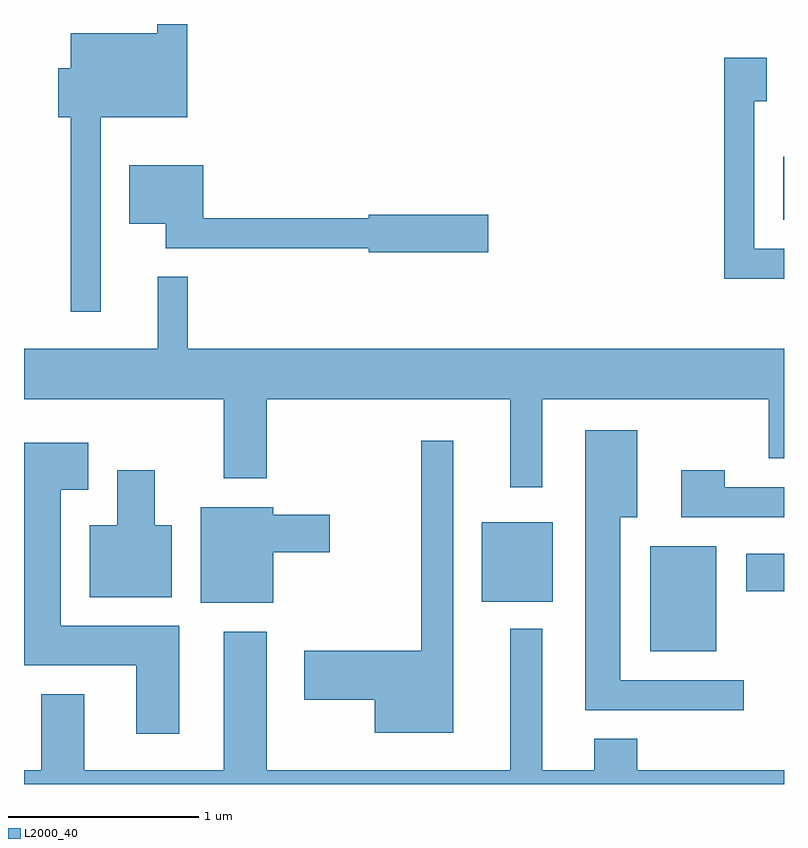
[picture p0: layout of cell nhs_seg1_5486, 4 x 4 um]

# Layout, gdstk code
import gdstk
lib = gdstk.Library(unit=1e-6, precision=1e-09)
def R(c, l, rs):  # rectangles x0, y0, x1, y1
    for r in rs: c.add(gdstk.rectangle(r[:2], r[2:], *l))
def P(c, l, *ps):  # polygons
    for p in ps: c.add(gdstk.Polygon(p, *l))
L2000_40 = (2000, 40)

nhs_seg1_5486 = lib.new_cell('nhs_seg1_5486')
R(nhs_seg1_5486, L2000_40, [(352.906,960.411,353.254,960.964), (352.021,960.671,352.394,961.089), (353.411,960.726,353.611,960.924), (353.606,962.681,353.611,963.014)])
P(nhs_seg1_5486, L2000_40, [(350.014,963.221),(350.469,963.221),(350.469,963.712),(350.311,963.712),(350.311,963.664),(349.856,963.664),(349.856,963.479),(349.791,963.479),(349.791,963.221),(349.856,963.221),(349.856,962.198),(350.014,962.198)],
  [(353.611,962.529),(353.454,962.529),(353.454,963.306),(353.519,963.306),(353.519,963.534),(353.296,963.534),(353.296,962.371),(353.611,962.371)],
  [(352.054,962.709),(351.426,962.709),(351.426,962.689),(350.554,962.689),(350.554,962.969),(350.166,962.969),(350.166,962.661),(350.356,962.661),(350.356,962.531),(351.426,962.531),(351.426,962.511),(352.054,962.511)],
  [(352.339,961.736),(353.531,961.736),(353.531,961.426),(353.611,961.426),(353.611,962.004),(350.474,962.004),(350.474,962.383),(350.316,962.383),(350.316,962.004),(349.611,962.004),(349.611,961.736),(350.661,961.736),(350.661,961.321),(350.889,961.321),(350.889,961.736),(352.171,961.736),(352.171,961.273),(352.339,961.273)],
  [(353.398,960.259),(352.749,960.259),(352.749,961.116),(352.839,961.116),(352.839,961.574),(352.566,961.574),(352.566,960.101),(353.398,960.101)],
  [(351.869,961.518),(351.701,961.518),(351.701,960.414),(351.086,960.414),(351.086,960.156),(351.456,960.156),(351.456,959.981),(351.869,959.981)],
  [(350.429,960.544),(349.804,960.544),(349.804,961.261),(349.949,961.261),(349.949,961.509),(349.611,961.509),(349.611,960.336),(350.201,960.336),(350.201,959.976),(350.429,959.976)],
  [(350.389,961.074),(350.299,961.074),(350.299,961.364),(350.101,961.364),(350.101,961.074),(349.956,961.074),(349.956,960.696),(350.389,960.696)],
  [(353.611,961.274),(353.299,961.274),(353.299,961.364),(353.071,961.364),(353.071,961.116),(353.611,961.116)],
  [(350.924,960.931),(351.219,960.931),(351.219,961.129),(350.924,961.129),(350.924,961.169),(350.541,961.169),(350.541,960.666),(350.924,960.666)],
  [(353.611,959.784),(352.839,959.784),(352.839,959.949),(352.611,959.949),(352.611,959.784),(352.339,959.784),(352.339,960.528),(352.171,960.528),(352.171,959.784),(350.889,959.784),(350.889,960.514),(350.661,960.514),(350.661,959.784),(349.929,959.784),(349.929,960.184),(349.701,960.184),(349.701,959.784),(349.611,959.784),(349.611,959.712),(353.611,959.712)])

lib.write_gds('nhs_seg1_5486.gds')
